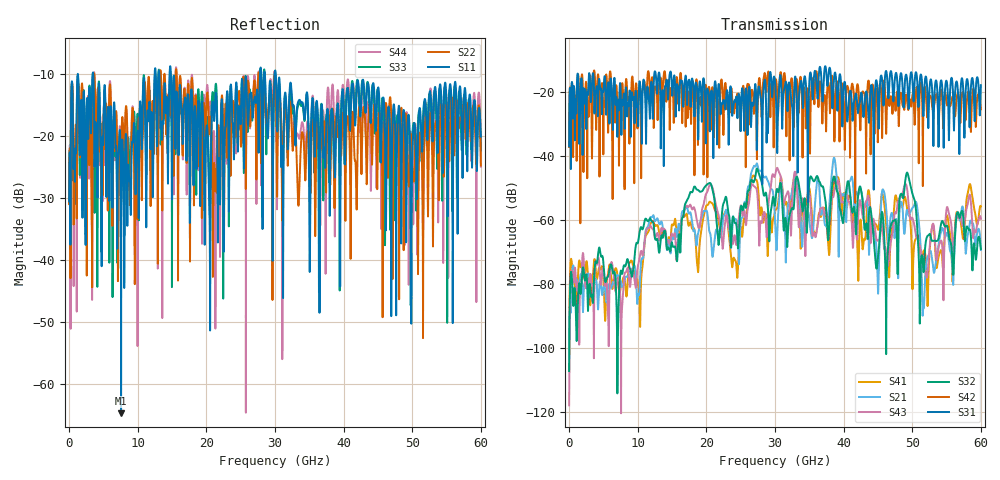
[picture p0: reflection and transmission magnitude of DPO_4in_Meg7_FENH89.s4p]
! Tyco Electronics Strada Whisper System
! FEXT_H89_G1112
!! SYSTEM DESCRIPTION: Daughtercard-Footprint-Connector-Footprint-Daughtercard
!! PCB DESCRIPTION: DC: 140mil, Megtron7N, upper layer route, 15mil stub, 6-6-6mil 4" traces
!! CONNECTOR DESCRIPTION: Next-Gen STRADA Whisper Direct-Plug Orthogonal Connector
!! MODEL DESCRIPTION: Tyco Electronics System 4-port S-parameter
!! MODEL STATUS: Developmental
!! MODEL GEOMETRY: Channel Model
!! MODEL FREQUENCY RANGE: DC to 60 GHz in 10 MHz frequency steps
!! MODEL EDGE RATE LIMITATION: 8.3 ps (Using conservative 0.5/Fmax rule of thumb)
!! TIME-DOMAIN TRANSFORM CAUTIONS:
!! 1.) Do not simulate transient edge rates faster than the number listed above.  Edge rates faster than this number
!!  contain significant spectral content at frequencies above the model's highest frequency.
!! 2.) Even when simulating edge rates that are slower than the number listed above, be aware that the best time
!!  resolution possible with a direct iFFT is (1 / 2Fmax).  As a result, time resolution is typically not adequate
!!  for most time-domain simulations unless tricks such as windowing are used to minimize leakage and aliasing.
!! 3.) Because the model has a uniform frequency step, a direct iFFT will result in an impulse that that has a time
!!  length given by either (1 / Fstep) or (1 / 2Fstep), depending on the transform being used.  Care has been taken
!!  in selecting the frequency step to ensure a settled impulse response for the model.  Therefore, convolution with
!!  the model's impulse response should present no issues.  However, if directly concatenating s-parameter models
!!  in the frequency domain a user must either interpolate necessary interim frequencies or complete impulse response
!!  zero-padding.  Impulse response zero-padding is more difficult, but more accurate.
!! PORT DEFINITIONS:
!! Port  1  ----->  TX Side	H8  G11  RX Side  <-----  Port  3
!! Port  2  ----->  TX Side	H9  G12  RX Side  <-----  Port  4
!!!!!!!!!!!!!!!!!!!!!!!!!!!!!!!!!!!!!!!!!!!!!!!!!!!!!!!!!!!!!!!!!!!!!!!!!!!!!!!!!!!!!!!!!!!!!!!!!!!!!!!!!!!!!!!!!!!!!!!!! Touchstone data
! Created: 10-Dec-2018 by IdEM R2012 (8.0.5)
# Hz S MA R 50
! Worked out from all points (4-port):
!   6000 points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, 10 MHz to 60 GHz, reference 50 ohm
!   strongest paths, dB at 10 MHz, 15.01 GHz, 30.01 GHz, 45.01 GHz, 60 GHz:
!     S31: -37.1, -20.7, -16.9, -23.6, -18.0
!     S42: -37.3, -19.2, -17.3, -32.4, -25.5
!     S32: -107.2, -67.3, -55.5, -71.6, -69.2
!     S43: -117.9, -64.5, -46.2, -66.5, -59.7
!     S21: -106.6, -65.1, -60.0, -82.7, -69.5
!     S41: -102.1, -61.5, -57.5, -63.1, -55.8
!   lowest |S11| = -64.7 dB at 7.58 GHz (marker M1), VSWR 1.00, Z = 50 + j0.0584 ohm
!   |S11| at or under -10 dB: 3.526 GHz to 12.47 GHz (8.943 GHz wide, 112 % of centre); 14.83 GHz to 27.83 GHz (12.99 GHz wide, 60.9 % of centre); 30.11 GHz to end of sweep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
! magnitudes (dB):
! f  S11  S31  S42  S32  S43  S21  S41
! 10 MHz  -30.5  -37.1  -37.3  -107.2  -117.9  -106.6  -102.1
! 7.58 GHz  -64.7  -25.9  -24.8  -75.9  -120.4  -79.4  -80.5
! 24.4 GHz  -11.5  -21.9  -23.3  -61.9  -67.7  -60.3  -74.9
! 27.19 GHz  -14.4  -18.5  -20.3  -45.9  -50.1  -43.2  -47.5
! 49.01 GHz  -22.7  -15.3  -21.8  -47.4  -48.9  -61.1  -53.3
! 52.2 GHz  -20.6  -20.2  -28.1  -65.1  -77.4  -71.9  -84.9
! 60 GHz  -20.0  -18.0  -25.5  -69.2  -59.7  -69.5  -55.8
